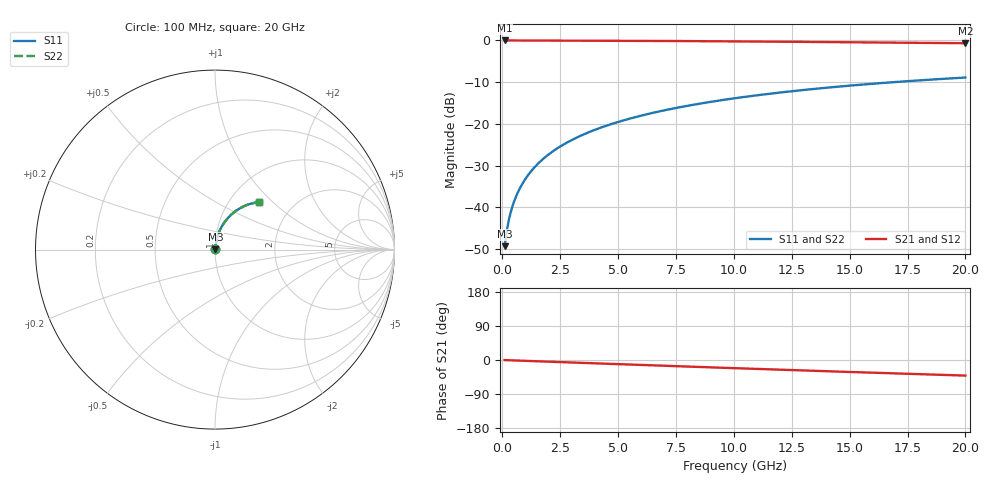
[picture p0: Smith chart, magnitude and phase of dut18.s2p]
! Touchstone file exported from HFSS 2026.1.0
!  File:  C:/ffzhzh/LocalFiles/Ansys_Project_Files/temp_train_BSMRDL_18_1782881999_46784.aedt
!  Generated:  01:01:11 PM Jul  1, 2026
!  Design:  BSMRDL
!  Project:  temp_train_BSMRDL_18_1782881999_46784
! Variables:
!  h_bsmrdl = 3.32um
!  h_ox = 20um
!  h_rdl = 5um
!  h_sub = 80um
!  h_tmrdl = 5um
!  h_tsv = 80um
!  h_via = 3um
!  l_bsmrdl = 596.67um
!  l_sub = 996.67um
!  l_tmrdl = 200um
!  m_sub = 200um
!  pitch = 57.65um
!  r_tsv = 6um
!  s_tmrdl = 10um
!  w_bsmrdl = 29.25um
!  w_sub = 500um
!  w_tmrdl = 12um
!  x_tsv_center1 = 206um
!  x_tsv_center2 = 831.92um
!  x_tsv_center3 = 1043.92um
!  x_tsv_center4 = 1669.84um
!  x_tsv_center5 = 1881.84um
!  x_tsv_center6 = 2507.76um
# GHz S MA R 50.000000
! Terminal data exported
! Port[1] = BSM_RDL1_1_T1
! Port[2] = BSM_RDL1_1_T2
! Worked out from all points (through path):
!   200 points, 100 MHz to 20 GHz, reference 50 ohm
!   highest |S21| = -0.02 dB at 100 MHz (marker M1); lowest = -0.7 dB at 20 GHz (marker M2)
!   group delay of S21, straight-line fit = 5.72 ps
!   lowest |S11| = -49.3 dB at 100 MHz (marker M3), VSWR 1.01, Z = 50.2 + j0.239 ohm
!   |S11| at or under -10 dB: start of sweep to 16.93 GHz
!   |S22| runs from -49.3 to -8.9 dB; largest |S21 - S12| = 2.6e-15
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0.1  0.003422 44.0  0.9975 -0.2  0.9975 -0.2  0.003422 44.0
! Gamma 0 0 0 0
! Port Impedance 50 0 50 0
0.2  0.005363 60.4  0.9974 -0.5  0.9974 -0.5  0.005363 60.4
0.3  0.007423 67.3  0.9972 -0.7  0.9972 -0.7  0.007423 67.3
0.4  0.009482 71.2  0.997 -0.9  0.997 -0.9  0.009483 71.2
0.5  0.01154 73.7  0.9969 -1.1  0.9969 -1.1  0.01154 73.7
0.6  0.0136 75.5  0.9968 -1.3  0.9968 -1.3  0.0136 75.5
0.8  0.01775 77.8  0.9967 -1.8  0.9967 -1.8  0.01775 77.8
1.1  0.02402 79.7  0.9964 -2.4  0.9964 -2.4  0.02402 79.6
1.3  0.02822 80.3  0.9963 -2.9  0.9963 -2.9  0.02822 80.3
1.6  0.03454 80.7  0.996 -3.5  0.996 -3.5  0.03454 80.7
2.1  0.04508 80.8  0.9954 -4.6  0.9954 -4.6  0.04508 80.8
2.7  0.0577 80.3  0.9946 -5.9  0.9946 -5.9  0.05771 80.3
3.5  0.07442 79.2  0.9932 -7.7  0.9932 -7.7  0.07442 79.2
4.2  0.08891 78.0  0.9917 -9.2  0.9917 -9.2  0.08891 78.0
5  0.1053 76.5  0.9897 -10.9  0.9897 -10.9  0.1053 76.5
5.9  0.1234 74.7  0.9872 -12.9  0.9872 -12.9  0.1234 74.7
6.8  0.1412 72.9  0.9844 -14.8  0.9844 -14.8  0.1412 72.9
8.3  0.1702 69.9  0.9791 -18.0  0.9791 -18.0  0.1702 69.9
10.1  0.2036 66.3  0.972 -21.7  0.972 -21.7  0.2036 66.3
13.4  0.2609 59.8  0.9573 -28.4  0.9573 -28.4  0.261 59.8
16.7  0.3128 53.5  0.9411 -34.9  0.9411 -34.9  0.3128 53.5
20  0.3587 47.4  0.9242 -41.2  0.9242 -41.2  0.3588 47.4
